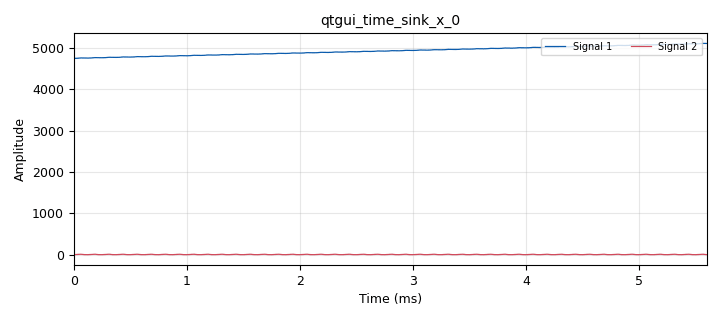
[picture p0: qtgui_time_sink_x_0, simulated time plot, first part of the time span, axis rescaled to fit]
options:
  parameters:
    generate_options: qt_gui
    id: P1_2
    output_language: python
    title: Not titled yet
  states: {}

blocks:
- name: samp_rate
  id: variable
  parameters:
    value: '32000'
  states: {}
- name: blocks_throttle_0
  id: blocks_throttle
  parameters:
    samples_per_second: samp_rate
    type: float
  states: {}
- name: blocks_vector_source_x_0
  id: blocks_vector_source_x
  parameters:
    repeat: 'True'
    type: float
    vector: (-2, 3, 8,-1)
  states: {}
- name: epy_block_0
  id: epy_block
  parameters:
    _source_code: "\"\"\"\nEmbedded Python Blocks:\n\nEach time this file is saved, GRC will instantiate the first class it finds\nto get ports and parameters of your block. The arguments to __init__  will\nbe the parameters. All of them are required to have default values!\n\"\"\"\n\nimport numpy as np\nfrom gnuradio import gr\n\nclass blk(gr.sync_block):\n    def __init__(self):  # only default arguments here\n        gr.sync_block.__init__(\n            self,\n            name=\"e_Diff\",  # will show up in GRC\n            in_sig=[np.float32],\n            out_sig=[np.float32]\n        )\n        self.acum_anterior = 0\n\n    def work(self, input_items, output_items):\n        x = input_items[0]  # Señal de entrada.\n        y0 = output_items[0]  # Señal acumulada diferencial\n        N = len(x)\n        diff = np.cumsum(x) - self.acum_anterior\n        self.acum_anterior = diff[N - 1]\n        y0[:] = diff\n        return len(y0)\n\n"
  states: {}
- name: qtgui_time_sink_x_0
  id: qtgui_time_sink_x
  parameters:
    nconnections: '2'
    size: '1024'
    srate: samp_rate
    type: float
  states: {}

connections:
- [blocks_throttle_0, '0', epy_block_0, '0']
- [blocks_throttle_0, '0', qtgui_time_sink_x_0, '1']
- [blocks_vector_source_x_0, '0', blocks_throttle_0, '0']
- [epy_block_0, '0', qtgui_time_sink_x_0, '0']

metadata:
  file_format: 1
